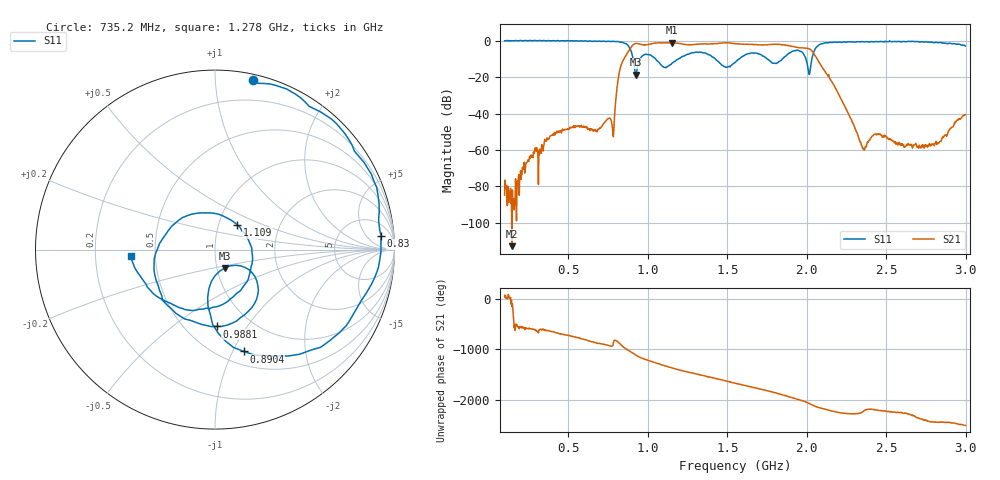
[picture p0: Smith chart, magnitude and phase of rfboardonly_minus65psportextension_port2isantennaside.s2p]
# HZ S RI R 50
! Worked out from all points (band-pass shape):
!   1009 points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, 100 MHz to 2.997 GHz, reference 50 ohm
!   highest |S21| = -0.99 dB at 1.155 GHz (marker M1); lowest = -113.0 dB at 146 MHz (marker M2)
!   |S21| within 3 dB of the highest: 890.8 MHz to 2.003 GHz (1.112 GHz wide, 76.9 % of centre)
!   lowest |S11| = -18.7 dB at 924.9 MHz (marker M3), VSWR 1.26, Z = 54.7 - j11.3 ohm
!   |S11| at or under -10 dB: 1.05 GHz to 1.19 GHz (140.7 MHz wide, 12.6 % of centre); 1.426 GHz to 1.575 GHz (149 MHz wide, 9.93 % of centre); 1.752 GHz to 1.846 GHz (93.95 MHz wide, 5.22 % of centre)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
!   S12 and S22 are empty: the file has one direction only
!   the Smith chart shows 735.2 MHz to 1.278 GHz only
!   S11 on the Smith chart (normalised r, x): 735.2 MHz: 0.04, +1.25; 830 MHz: 12, +13; 890.4 MHz: 0.64, -1.11; 988.1 MHz: 0.70, -0.73; 1.109 GHz: 1.23, +0.35; 1.278 GHz: 0.36, -0.03
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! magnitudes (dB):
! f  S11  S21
! 100 MHz  0.0  -84.9
! 146 MHz  0.1  -113.0
! 381.7 MHz  0.1  -53.2
! 582.9 MHz  0.1  -46.5
! 735.2 MHz  -0.3  -44.2
! 781.2 MHz  -0.2  -51.4
! 830 MHz  -0.7  -14.0
! 890.4 MHz  -4.6  -4.0
! 924.9 MHz  -18.7  -1.4
! 988.1 MHz  -7.4  -2.1
! 1.066 GHz  -11.5  -1.1
! 1.109 GHz  -14.6  -1.0
! 1.155 GHz  -12.1  -1.0
! 1.278 GHz  -6.5  -2.1
! 1.549 GHz  -11.9  -1.5
! 1.937 GHz  -5.1  -3.5
! 2.031 GHz  -10.2  -5.4
! 2.092 GHz  -1.6  -13.8
! 2.35 GHz  -0.4  -59.0
! 2.514 GHz  -0.4  -54.2
! 2.79 GHz  -0.8  -56.8
! 2.997 GHz  -2.8  -40.6
